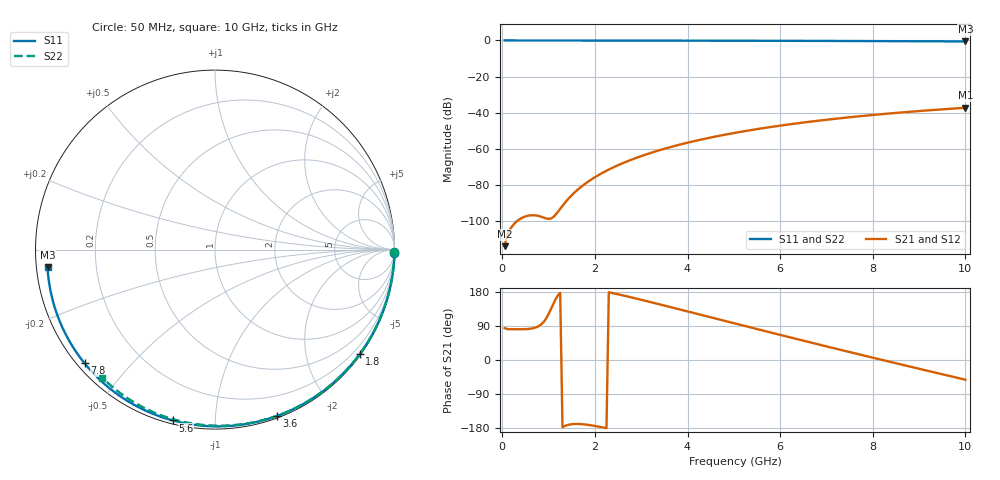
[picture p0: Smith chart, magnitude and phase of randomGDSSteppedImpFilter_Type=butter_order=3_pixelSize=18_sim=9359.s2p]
! freq	dB(S11)	phase(S11)	dB(S12)	phase(S12)
!  dB(S21)	phase(S21)	dB(S22)	phase(S22)
!S-par simulation data
#  GHz  S  DB  R 50
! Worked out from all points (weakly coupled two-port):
!   200 points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, 50 MHz to 10 GHz, reference 50 ohm
!   highest |S21| = -37.22 dB at 10 GHz (marker M1); lowest = -113.7 dB at 50 MHz (marker M2)
!   lowest |S11| = -0.6 dB at 10 GHz (marker M3), VSWR 31.41, Z = 1.6 - j2.61 ohm
!   |S11| at or under -10 dB: nowhere
!   |S22| runs from -0.4 to 0.0 dB; largest |S21 - S12| = 0
!   S11 on the Smith chart (normalised r, x): 50 MHz: open; 1.8 GHz: 0.03, -3.09; 3.6 GHz: 0.02, -1.44; 5.6 GHz: 0.02, -0.78; 7.8 GHz: 0.02, -0.37; 10 GHz: 0.03, -0.05
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0.05  -0.00 -1.0  -113.71 84.2  -113.71 84.2  -0.00 -0.8
0.45  -0.01 -9.1  -97.76 81.2  -97.76 81.2  -0.01 -6.8
0.85  -0.02 -17.2  -97.52 94.9  -97.52 94.9  -0.02 -12.8
1.3  -0.03 -26.1  -91.38 -177.8  -91.38 -177.8  -0.02 -19.5
1.75  -0.04 -34.9  -79.96 -169.7  -79.96 -169.7  -0.03 -26.2
1.8  -0.05 -35.9  -79.01 -170.4  -79.01 -170.4  -0.03 -26.9
2.1  -0.05 -41.7  -74.09 -176.2  -74.09 -176.2  -0.04 -31.3
2.3  -0.06 -45.5  -71.37 178.8  -71.37 178.8  -0.04 -34.2
2.5  -0.06 -49.3  -68.96 173.5  -68.96 173.5  -0.05 -37.1
2.9  -0.07 -56.8  -64.84 161.9  -64.84 161.9  -0.06 -42.8
3.4  -0.09 -66.0  -60.63 146.8  -60.63 146.8  -0.07 -49.8
3.6  -0.09 -69.6  -59.16 140.6  -59.16 140.6  -0.07 -52.6
4.3  -0.12 -82.0  -54.75 118.9  -54.75 118.9  -0.09 -62.2
5.05  -0.14 -94.8  -50.95 95.6  -50.95 95.6  -0.11 -72.1
5.6  -0.17 -103.9  -48.60 78.6  -48.60 78.6  -0.13 -79.2
6.15  -0.20 -112.8  -46.55 61.7  -46.55 61.7  -0.15 -86.2
6.7  -0.23 -121.6  -44.73 44.9  -44.73 44.9  -0.18 -92.9
7.25  -0.27 -130.3  -43.12 28.4  -43.12 28.4  -0.21 -99.6
7.8  -0.32 -138.9  -41.68 12.0  -41.68 12.0  -0.25 -106.1
8.35  -0.37 -147.5  -40.38 -4.2  -40.38 -4.2  -0.29 -112.5
9.2  -0.46 -161.0  -38.63 -28.9  -38.63 -28.9  -0.36 -122.3
10  -0.55 -174.0  -37.22 -52.0  -37.22 -52.0  -0.44 -131.3
